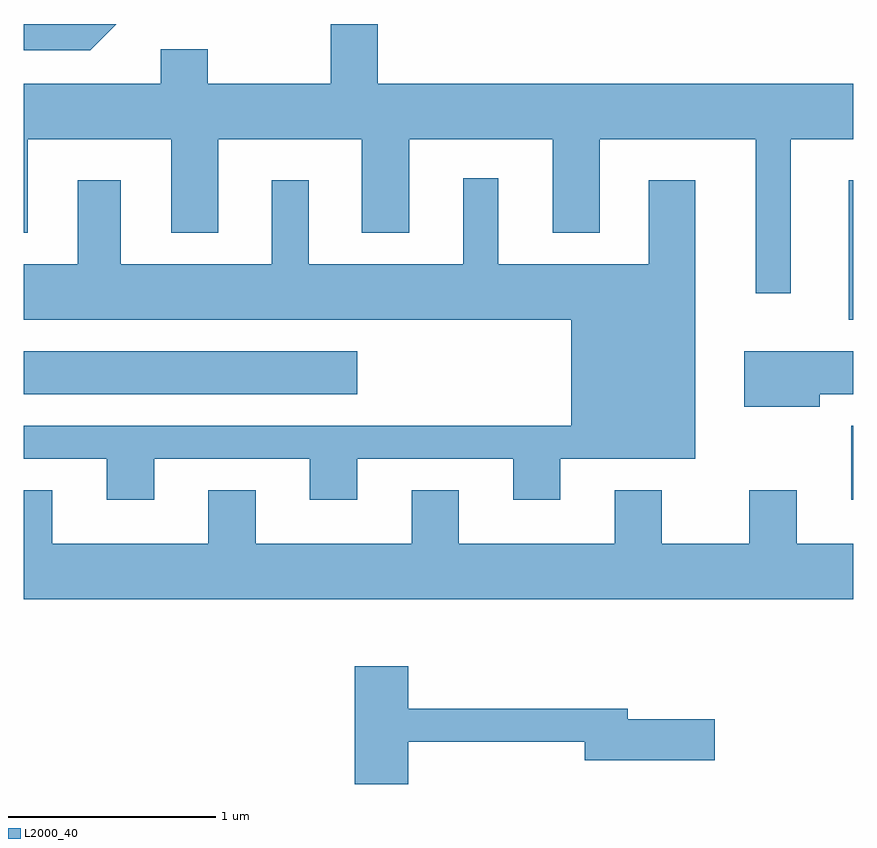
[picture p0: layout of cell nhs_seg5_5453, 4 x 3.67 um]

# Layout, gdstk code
import gdstk
lib = gdstk.Library(unit=1e-6, precision=1e-09)
def R(c, l, rs):  # rectangles x0, y0, x1, y1
    for r in rs: c.add(gdstk.rectangle(r[:2], r[2:], *l))
def P(c, l, *ps):  # polygons
    for p in ps: c.add(gdstk.Polygon(p, *l))
L2000_40 = (2000, 40)

nhs_seg5_5453 = lib.new_cell('nhs_seg5_5453')
R(nhs_seg5_5453, L2000_40, [(351.601,1401.776,351.611,1402.134), (347.611,1402.286,349.219,1402.494), (351.591,1402.646,351.611,1403.319)])
P(nhs_seg5_5453, L2000_40, [(348.057,1404.072),(347.611,1404.072),(347.611,1403.946),(347.932,1403.946)],
  [(351.309,1403.516),(351.611,1403.516),(351.611,1403.784),(349.319,1403.784),(349.319,1404.072),(349.091,1404.072),(349.091,1403.784),(348.499,1403.784),(348.499,1403.949),(348.271,1403.949),(348.271,1403.784),(347.611,1403.784),(347.611,1403.066),(347.629,1403.066),(347.629,1403.516),(348.321,1403.516),(348.321,1403.066),(348.549,1403.066),(348.549,1403.516),(349.241,1403.516),(349.241,1403.066),(349.469,1403.066),(349.469,1403.516),(350.161,1403.516),(350.161,1403.066),(350.389,1403.066),(350.389,1403.516),(351.141,1403.516),(351.141,1402.773),(351.309,1402.773)],
  [(348.239,1401.976),(348.991,1401.976),(348.991,1401.776),(349.219,1401.776),(349.219,1401.976),(349.971,1401.976),(349.971,1401.776),(350.199,1401.776),(350.199,1401.976),(350.849,1401.976),(350.849,1403.319),(350.626,1403.319),(350.626,1402.914),(349.899,1402.914),(349.899,1403.328),(349.731,1403.328),(349.731,1402.914),(348.984,1402.914),(348.984,1403.319),(348.806,1403.319),(348.806,1402.914),(348.079,1402.914),(348.079,1403.319),(347.871,1403.319),(347.871,1402.914),(347.611,1402.914),(347.611,1402.646),(350.251,1402.646),(350.251,1402.134),(347.611,1402.134),(347.611,1401.976),(348.011,1401.976),(348.011,1401.776),(348.239,1401.776)],
  [(351.449,1402.286),(351.611,1402.286),(351.611,1402.494),(351.086,1402.494),(351.086,1402.226),(351.449,1402.226)],
  [(351.611,1401.564),(351.339,1401.564),(351.339,1401.824),(351.111,1401.824),(351.111,1401.564),(350.689,1401.564),(350.689,1401.824),(350.461,1401.824),(350.461,1401.564),(349.709,1401.564),(349.709,1401.824),(349.481,1401.824),(349.481,1401.564),(348.729,1401.564),(348.729,1401.824),(348.501,1401.824),(348.501,1401.564),(347.749,1401.564),(347.749,1401.824),(347.611,1401.824),(347.611,1401.296),(351.611,1401.296)],
  [(349.464,1400.611),(350.316,1400.611),(350.316,1400.521),(350.944,1400.521),(350.944,1400.719),(350.524,1400.719),(350.524,1400.769),(349.464,1400.769),(349.464,1400.974),(349.206,1400.974),(349.206,1400.406),(349.464,1400.406)])

lib.write_gds('nhs_seg5_5453.gds')
